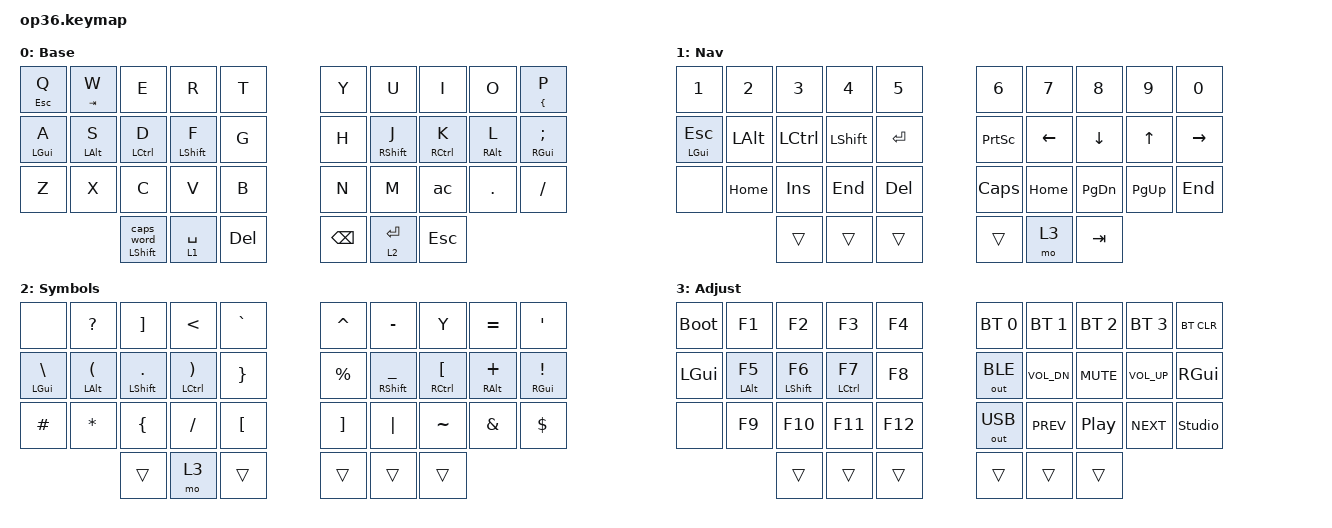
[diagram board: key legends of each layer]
#include "keys_ru.h"
#include <behaviors.dtsi>
#include <dt-bindings/zmk/bt.h>
#include <dt-bindings/zmk/keys.h>
#include <dt-bindings/zmk/outputs.h>

&mt {
    quick-tap-ms = <140>;
    flavor = "tap-preferred";
    require-prior-idle-ms = <30>;
};

/ {
    behaviors {
        hml: home_row_mod_left {
            compatible = "zmk,behavior-hold-tap";
            #binding-cells = <2>;
            flavor = "balanced";
            require-prior-idle-ms = <55>;
            tapping-term-ms = <135>;
            quick-tap-ms = <45>;
            bindings = <&kp>, <&kp>;

            hold-trigger-key-positions = <5 6 7 8 9 15 16 17 18 19 25 26 27 28 29 33 34 35>;
            hold-trigger-on-release;
        };

        hmr: home_row_mod_right {
            compatible = "zmk,behavior-hold-tap";
            #binding-cells = <2>;
            flavor = "balanced";
            require-prior-idle-ms = <55>;
            tapping-term-ms = <135>;
            quick-tap-ms = <45>;
            bindings = <&kp>, <&kp>;

            hold-trigger-key-positions = <0 1 2 3 4 10 11 12 13 14 20 21 22 23 24 30 31 32>;
            hold-trigger-on-release;
        };

        ac: double_taps_apos_comma {
            compatible = "zmk,behavior-tap-dance";
            #binding-cells = <0>;
            tapping-term-ms = <150>;
            bindings = <&kp COMMA>, <&kp APOS>;
        };

        scw: shift_caps_word {
            compatible = "zmk,behavior-hold-tap";
            #binding-cells = <2>;
            flavor = "hold-preferred";
            tapping-term-ms = <150>;
            bindings = <&kp>, <&caps_word>;
            display-name = "Shift-Caps";
        };
    };

    keymap {
        compatible = "zmk,keymap";

        base {
            bindings = <
  &mt ESC Q        &mt TAB W        &kp E         &kp R          &kp T                          &kp Y  &kp U         &kp I         &kp O        &mt LBRC P
  &hml LGUI A      &hml LALT S      &hml LCTRL D  &hml LSHFT F   &kp G                          &kp H  &hmr RSHFT J  &hmr RCTRL K  &hmr RALT L  &hmr RGUI SEMICOLON
  &kp Z            &kp X            &kp C         &kp V          &kp B                          &kp N  &kp M         &ac           &kp DOT      &kp FSLH
                                    &scw LSHIFT 0 &lt 1 SPACE    &kp DELETE                     &kp BACKSPACE        &lt 2 ENTER   &kp ESC
            >;

            display-name = "Base";
        };

        nav {
            bindings = <
  &kp N1         &kp N2    &kp N3     &kp N4     &kp N5                        &kp N6           &kp N7           &kp N8           &kp N9        &kp N0
  &hml LGUI ESC  &kp LALT  &kp LCTRL  &kp LSHFT  &kp ENTER                     &kp PRINTSCREEN  &kp LEFT         &kp DOWN         &kp UP        &kp RIGHT
  &none          &kp HOME  &kp INS    &kp END    &kp DELETE                    &kp CAPS         &kp HOME         &kp PG_DN        &kp PG_UP     &kp END
                           &trans     &trans     &trans                        &trans           &mo 3            &kp TAB
            >;

            display-name = "Nav";
        };

        sym {
            bindings = <
  &none           &kp QMARK       &kp RBKT         &kp LT           &kp GRAVE                    &kp CARET  &kp MINUS         &kp Y            &kp EQUAL       &kp APOS
  &hml LGUI BSLH  &hml LALT LPAR &hml LSHFT DOT    &hml LCTRL RPAR  &kp RBRC                     &kp PRCNT  &hmr RSHFT UNDER  &hmr RCTRL LBKT  &hmr RALT PLUS  &hmr RGUI EXCL
  &kp HASH        &kp STAR        &kp LBRC         &kp FSLH         &kp LBKT                     &kp RBKT   &kp PIPE          &kp TILDE        &kp AMPS        &kp DLLR
                                  &trans           &mo 3            &trans                       &trans     &trans            &trans
            >;

            display-name = "Symbols";
        };

        adj {
            bindings = <
  &bootloader  &kp F1        &kp F2         &kp F3         &kp F4                     &bt BT_SEL 0  &bt BT_SEL 1         &bt BT_SEL 2       &bt BT_SEL 3        &bt BT_CLR
  &kp LGUI     &hml LALT F5  &hml LSHFT F6  &hml LCTRL F7  &kp F8                     &out OUT_BLE  &kp C_VOL_DN         &kp C_MUTE         &kp C_VOL_UP        &kp RGUI
  &none        &kp F9        &kp F10        &kp F11        &kp F12                    &out OUT_USB  &kp C_PREV           &kp C_PP           &kp C_NEXT          &studio_unlock
                             &trans         &trans         &trans                     &trans        &trans               &trans
            >;

            display-name = "Adjust";
        };
    };
};
